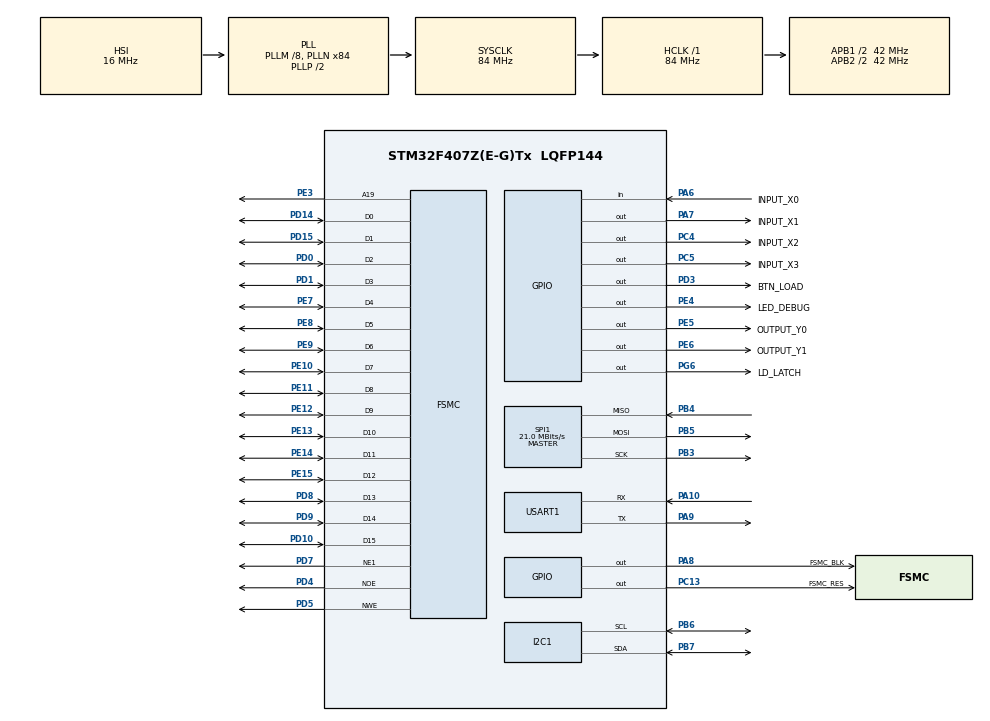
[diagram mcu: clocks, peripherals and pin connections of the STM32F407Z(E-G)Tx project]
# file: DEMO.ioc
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FSMC.AddressSetupTime1=0xf
FSMC.BusTurnAroundDuration1=0
FSMC.DataSetupTime1=60
FSMC.ExtendedAddressSetupTime1=8
FSMC.ExtendedBusTurnAroundDuration1=0
FSMC.ExtendedDataSetupTime1=9
FSMC.ExtendedMode1=FSMC_EXTENDED_MODE_ENABLE
Mcu.Family=STM32F4
Mcu.Name=STM32F407Z(E-G)Tx
Mcu.Package=LQFP144
NVIC.PriorityGroup=NVIC_PRIORITYGROUP_4
NVIC.TIM2_IRQn=true\:0\:0\:false\:false\:true\:true\:true
NVIC.USART1_IRQn=true\:0\:0\:false\:false\:true\:true\:true
PA10.Mode=Asynchronous
PA10.Signal=USART1_RX
PA13.Mode=Serial_Wire
PA13.Signal=SYS_JTMS-SWDIO
PA14.Mode=Serial_Wire
PA14.Signal=SYS_JTCK-SWCLK
PA6.GPIO_Label=INPUT_X0
PA6.Signal=GPIO_Input
PA7.GPIO_Label=INPUT_X1
PA7.Signal=GPIO_Output
PA8.GPIO_Label=FSMC_BLK
PA8.Signal=GPIO_Output
PA9.Mode=Asynchronous
PA9.Signal=USART1_TX
PB3.Mode=Full_Duplex_Master
PB3.Signal=SPI1_SCK
PB4.Mode=Full_Duplex_Master
PB4.Signal=SPI1_MISO
PB5.Mode=Full_Duplex_Master
PB5.Signal=SPI1_MOSI
PB6.Mode=I2C
PB6.Signal=I2C1_SCL
PB7.Mode=I2C
PB7.Signal=I2C1_SDA
PC13-ANTI_TAMP.GPIO_Label=FSMC_RES
PC13-ANTI_TAMP.Signal=GPIO_Output
PC4.GPIO_Label=INPUT_X2
PC4.Signal=GPIO_Output
PC5.GPIO_Label=INPUT_X3
PC5.Signal=GPIO_Output
PD0.Signal=FSMC_D2_DA2
PD1.Signal=FSMC_D3_DA3
PD10.Signal=FSMC_D15_DA15
PD14.Signal=FSMC_D0_DA0
PD15.Signal=FSMC_D1_DA1
PD3.GPIO_Label=BTN_LOAD
PD3.Signal=GPIO_Output
PD4.Signal=FSMC_NOE
PD5.Signal=FSMC_NWE
PD7.Mode=NorPsramChipSelect1_1
PD7.Signal=FSMC_NE1
PD8.Signal=FSMC_D13_DA13
PD9.Signal=FSMC_D14_DA14
PE10.Signal=FSMC_D7_DA7
PE11.Signal=FSMC_D8_DA8
PE12.Signal=FSMC_D9_DA9
PE13.Signal=FSMC_D10_DA10
PE14.Signal=FSMC_D11_DA11
PE15.Signal=FSMC_D12_DA12
PE3.Signal=FSMC_A19
PE4.GPIO_Label=LED_DEBUG
PE4.Signal=GPIO_Output
PE5.GPIO_Label=OUTPUT_Y0
PE5.Signal=GPIO_Output
PE6.GPIO_Label=OUTPUT_Y1
PE6.Signal=GPIO_Output
PE7.Signal=FSMC_D4_DA4
PE8.Signal=FSMC_D5_DA5
PE9.Signal=FSMC_D6_DA6
PG6.GPIO_Label=LD_LATCH
PG6.Signal=GPIO_Output
PH0-OSC_IN.Mode=HSE-External-Oscillator
PH0-OSC_IN.Signal=RCC_OSC_IN
PH1-OSC_OUT.Mode=HSE-External-Oscillator
PH1-OSC_OUT.Signal=RCC_OSC_OUT
ProjectManager.HeapSize=0x200
ProjectManager.StackSize=0x400
ProjectManager.TargetToolchain=STM32CubeIDE
RCC.48MHZClocksFreq_Value=42000000
RCC.AHBFreq_Value=84000000
RCC.APB1CLKDivider=RCC_HCLK_DIV2
RCC.APB1Freq_Value=42000000
RCC.APB1TimFreq_Value=84000000
RCC.APB2CLKDivider=RCC_HCLK_DIV2
RCC.APB2Freq_Value=42000000
RCC.APB2TimFreq_Value=84000000
RCC.CortexFreq_Value=84000000
RCC.HCLKFreq_Value=84000000
RCC.HSE_VALUE=8000000
RCC.HSI_VALUE=16000000
RCC.LSE_VALUE=32768
RCC.PLLM=8
RCC.PLLN=84
RCC.SYSCLKFreq_VALUE=84000000
RCC.SYSCLKSource=RCC_SYSCLKSOURCE_PLLCLK
RCC.VCOOutputFreq_Value=168000000
SH.FSMC_A19.0=FSMC_A19,A19_1
SH.FSMC_D0_DA0.0=FSMC_D0,16b-d1
SH.FSMC_D10_DA10.0=FSMC_D10,16b-d1
SH.FSMC_D11_DA11.0=FSMC_D11,16b-d1
SH.FSMC_D12_DA12.0=FSMC_D12,16b-d1
SH.FSMC_D13_DA13.0=FSMC_D13,16b-d1
SH.FSMC_D14_DA14.0=FSMC_D14,16b-d1
SH.FSMC_D15_DA15.0=FSMC_D15,16b-d1
SH.FSMC_D1_DA1.0=FSMC_D1,16b-d1
SH.FSMC_D2_DA2.0=FSMC_D2,16b-d1
SH.FSMC_D3_DA3.0=FSMC_D3,16b-d1
SH.FSMC_D4_DA4.0=FSMC_D4,16b-d1
SH.FSMC_D5_DA5.0=FSMC_D5,16b-d1
SH.FSMC_D6_DA6.0=FSMC_D6,16b-d1
SH.FSMC_D7_DA7.0=FSMC_D7,16b-d1
SH.FSMC_D8_DA8.0=FSMC_D8,16b-d1
SH.FSMC_D9_DA9.0=FSMC_D9,16b-d1
SH.FSMC_NOE.0=FSMC_NOE,Lcd1
SH.FSMC_NWE.0=FSMC_NWE,Lcd1
SPI1.CalculateBaudRate=21.0 MBits/s
SPI1.Direction=SPI_DIRECTION_2LINES
SPI1.Mode=SPI_MODE_MASTER
SPI1.VirtualType=VM_MASTER
TIM2.Period=100-1
TIM2.Prescaler=840-1
USART1.VirtualMode=VM_ASYNC
VP_TIM2_VS_ClockSourceINT.Mode=Internal
board=custom

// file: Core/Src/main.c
/* USER CODE BEGIN Header */
/**
  ******************************************************************************
  * @file           : main.c
  * @brief          : Main program body
  ******************************************************************************
  * @attention
  *
  * <h2><center>&copy; Copyright (c) 2023 STMicroelectronics.
  * All rights reserved.</center></h2>
  *
  * This software component is licensed by ST under BSD 3-Clause license,
  * the "License"; You may not use this file except in compliance with the
  * License. You may obtain a copy of the License at:
  *                        opensource.org/licenses/BSD-3-Clause
  *
  ******************************************************************************
  */
/* USER CODE END Header */
#include "main.h"
#include "gpio.h"
#include "fsmc.h"
#include "i2c.h"
#include "usart.h"
#include "tim.h"
#include "spi.h"
#include "global.h"
/* USER CODE BEGIN Includes */
#include "software_timer.h"
#include "led_7seg.h"
#include "button.h"
#include "lcd.h"
#include "picture.h"
#include "ds3231.h"
#include "uart.h"
#include "fsm_timer.h"
/* USER CODE END Includes */

I2C_HandleTypeDef hi2c1;

SPI_HandleTypeDef hspi1;

TIM_HandleTypeDef htim2;

UART_HandleTypeDef huart1;

SRAM_HandleTypeDef hsram1;

/* USER CODE BEGIN PFP */
void system_init();
void test_led();
void test_7seg();
void test_lcd();
void test_button();
/* USER CODE END PFP */

int main(void)
{

  /* MCU Configuration--------------------------------------------------------*/

  /* Reset of all peripherals, Initializes the Flash interface and the Systick. */
  HAL_Init();

  /* Configure the system clock */
  SystemClock_Config();

  /* Initialize all configured peripherals */
  MX_GPIO_Init();
  MX_TIM2_Init();
  MX_SPI1_Init();
  MX_FSMC_Init();
  MX_I2C1_Init();
  MX_USART1_UART_Init();
  /* USER CODE BEGIN 2 */
  system_init();

  /* USER CODE END 2 */

  /* Infinite loop */
  /* USER CODE BEGIN WHILE */
  while (1){
	  while(!flag_timer2);
	  flag_timer2 = 0;
	  test_led();
	  button_Scan();
	  alarm();
	  input_process();
	  fsm();

    /* USER CODE END WHILE */

  }
}

void SystemClock_Config(void)
{
  RCC_OscInitTypeDef RCC_OscInitStruct = {0};
  RCC_ClkInitTypeDef RCC_ClkInitStruct = {0};

  /** Configure the main internal regulator output voltage
  */
  __HAL_RCC_PWR_CLK_ENABLE();
  __HAL_PWR_VOLTAGESCALING_CONFIG(PWR_REGULATOR_VOLTAGE_SCALE1);
  /** Initializes the RCC Oscillators according to the specified parameters
  * in the RCC_OscInitTypeDef structure.
  */
  RCC_OscInitStruct.OscillatorType = RCC_OSCILLATORTYPE_HSI;
  RCC_OscInitStruct.HSIState = RCC_HSI_ON;
  RCC_OscInitStruct.HSICalibrationValue = RCC_HSICALIBRATION_DEFAULT;
  RCC_OscInitStruct.PLL.PLLState = RCC_PLL_ON;
  RCC_OscInitStruct.PLL.PLLSource = RCC_PLLSOURCE_HSI;
  RCC_OscInitStruct.PLL.PLLM = 8;
  RCC_OscInitStruct.PLL.PLLN = 84;
  RCC_OscInitStruct.PLL.PLLP = RCC_PLLP_DIV2;
  RCC_OscInitStruct.PLL.PLLQ = 4;
  if (HAL_RCC_OscConfig(&RCC_OscInitStruct) != HAL_OK)
  {
    Error_Handler();
  }
  /** Initializes the CPU, AHB and APB buses clocks
  */
  RCC_ClkInitStruct.ClockType = RCC_CLOCKTYPE_HCLK|RCC_CLOCKTYPE_SYSCLK
                              |RCC_CLOCKTYPE_PCLK1|RCC_CLOCKTYPE_PCLK2;
  RCC_ClkInitStruct.SYSCLKSource = RCC_SYSCLKSOURCE_PLLCLK;
  RCC_ClkInitStruct.AHBCLKDivider = RCC_SYSCLK_DIV1;
  RCC_ClkInitStruct.APB1CLKDivider = RCC_HCLK_DIV2;
  RCC_ClkInitStruct.APB2CLKDivider = RCC_HCLK_DIV2;

  if (HAL_RCC_ClockConfig(&RCC_ClkInitStruct, FLASH_LATENCY_2) != HAL_OK)
  {
    Error_Handler();
  }
}

/* USER CODE BEGIN 4 */
void system_init(){
	  HAL_GPIO_WritePin(OUTPUT_Y0_GPIO_Port, OUTPUT_Y0_Pin, 0);
	  HAL_GPIO_WritePin(OUTPUT_Y1_GPIO_Port, OUTPUT_Y1_Pin, 0);
	  HAL_GPIO_WritePin(LED_DEBUG_GPIO_Port, LED_DEBUG_Pin, 0);
	  timer_init();
	  led7_init();
	  button_init();
	  lcd_init();
	  ds3231_init();
	  setTimer2(50);
}

void test_led(){
	HAL_GPIO_TogglePin(LED_DEBUG_GPIO_Port, LED_DEBUG_Pin);
}
void test_7seg(){
	led7_SetDigit(1, 0, 0);
	led7_SetDigit(2, 1, 0);
	led7_SetDigit(3, 2, 0);
	led7_SetDigit(4, 3, 0);
}
void test_lcd(){

	lcd_Fill(0, 0, 240, 20, BLUE);
	lcd_StrCenter(0, 2, "Hello World !!!", RED, BLUE, 16, 1);
	lcd_ShowStr(20, 30, "Test lcd screen", WHITE, RED, 24, 0);
	lcd_ShowPicture(80, 200, 90, 90, gImage_logo);
}
void test_button(){
	for(int i = 0; i < 16; i++){
		if(button_count[i] == 1){
			lcd_ShowIntNum(140, 105, i, 2, BRED, WHITE, 32);
		}
	}
}

/* USER CODE END 4 */

void Error_Handler(void)
{
  __disable_irq();
  while (1)
  {
  }
}

/************************ (C) COPYRIGHT STMicroelectronics *****END OF FILE****/
